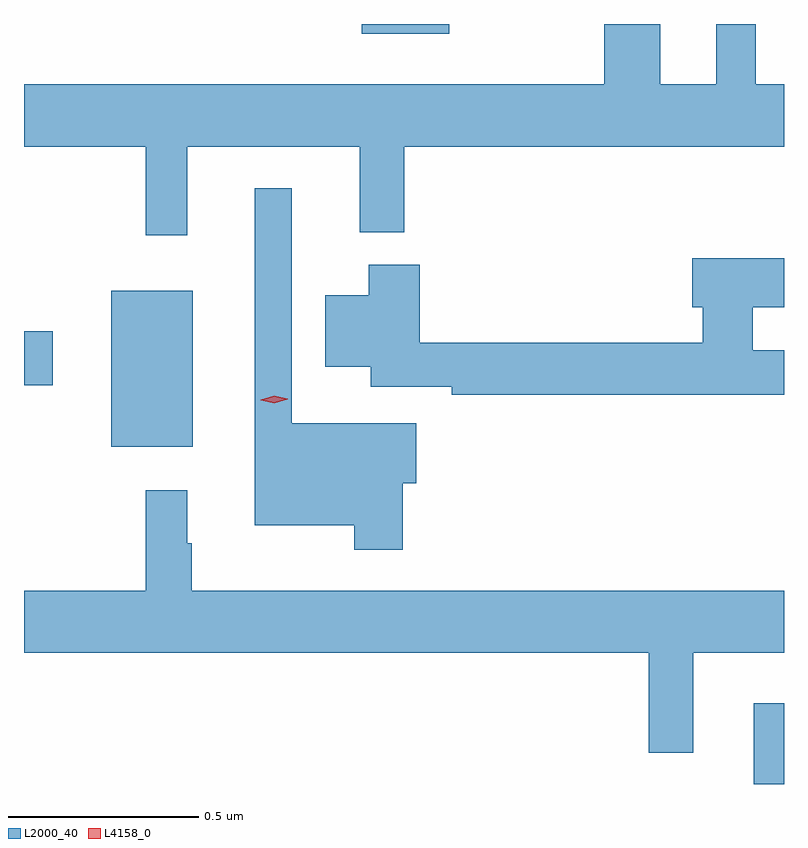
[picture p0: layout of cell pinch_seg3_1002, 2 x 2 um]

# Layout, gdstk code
import gdstk
lib = gdstk.Library(unit=1e-6, precision=1e-09)
def R(c, l, rs):  # rectangles x0, y0, x1, y1
    for r in rs: c.add(gdstk.rectangle(r[:2], r[2:], *l))
def P(c, l, *ps):  # polygons
    for p in ps: c.add(gdstk.Polygon(p, *l))
L2000_40 = (2000, 40)
L4158_0 = (4158, 0)

pinch_seg3_1002 = lib.new_cell('pinch_seg3_1002')
R(pinch_seg3_1002, L2000_40, [(400.148,735.203,400.227,735.415), (398.456,736.091,398.671,736.501), (398.227,736.253,398.302,736.395), (399.116,737.177,399.346,737.203)])
P(pinch_seg3_1002, L2000_40, [(398.657,736.88),(399.11,736.88),(399.11,736.655),(399.227,736.655),(399.227,736.88),(400.227,736.88),(400.227,737.044),(400.153,737.044),(400.153,737.203),(400.049,737.203),(400.049,737.044),(399.901,737.044),(399.901,737.203),(399.754,737.203),(399.754,737.044),(398.227,737.044),(398.227,736.88),(398.547,736.88),(398.547,736.647),(398.657,736.647)],
  [(399.224,735.995),(399.259,735.995),(399.259,736.153),(398.931,736.153),(398.931,736.771),(398.834,736.771),(398.834,735.884),(399.096,735.884),(399.096,735.819),(399.224,735.819)],
  [(400.227,736.344),(400.145,736.344),(400.145,736.457),(400.227,736.457),(400.227,736.587),(399.986,736.587),(399.986,736.457),(400.013,736.457),(400.013,736.364),(399.269,736.364),(399.269,736.57),(399.134,736.57),(399.134,736.489),(399.02,736.489),(399.02,736.301),(399.14,736.301),(399.14,736.248),(399.352,736.248),(399.352,736.228),(400.227,736.228)],
  [(399.988,735.548),(400.227,735.548),(400.227,735.712),(398.668,735.712),(398.668,735.836),(398.656,735.836),(398.656,735.976),(398.547,735.976),(398.547,735.712),(398.227,735.712),(398.227,735.548),(399.871,735.548),(399.871,735.285),(399.988,735.285)])
P(pinch_seg3_1002, L4158_0, [(398.886,736.205),(398.85,736.213),(398.85,736.214),(398.85,736.214),(398.885,736.225),(398.921,736.217),(398.921,736.217),(398.921,736.216)])

lib.write_gds('pinch_seg3_1002.gds')
